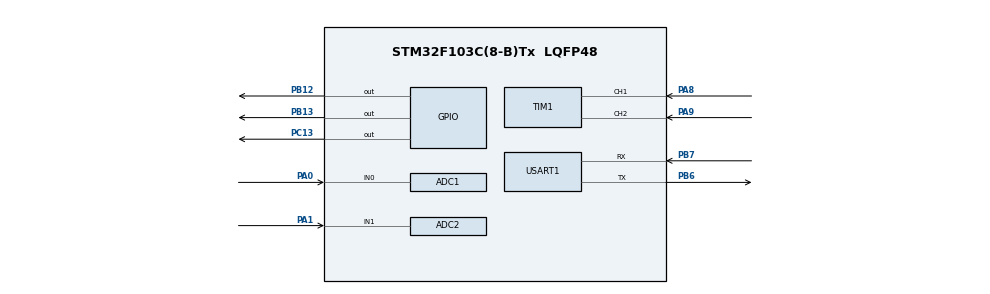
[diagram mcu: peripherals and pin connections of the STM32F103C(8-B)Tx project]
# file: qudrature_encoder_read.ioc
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ADC1.Channel-7\#ChannelRegularConversion=ADC_CHANNEL_0
ADC1.ContinuousConvMode=DISABLE
ADC1.DataAlign=ADC_DATAALIGN_RIGHT
ADC1.EnableRegularConversion=ENABLE
ADC1.NbrOfConversionFlag=1
ADC1.Rank-7\#ChannelRegularConversion=1
ADC1.SamplingTime-7\#ChannelRegularConversion=ADC_SAMPLETIME_1CYCLE_5
ADC1.master=1
ADC2.Channel-2\#ChannelRegularConversion=ADC_CHANNEL_1
ADC2.ContinuousConvMode=DISABLE
ADC2.EnableRegularConversion=ENABLE
ADC2.NbrOfConversionFlag=1
ADC2.Rank-2\#ChannelRegularConversion=1
ADC2.SamplingTime-2\#ChannelRegularConversion=ADC_SAMPLETIME_1CYCLE_5
Mcu.Family=STM32F1
Mcu.Name=STM32F103C(8-B)Tx
Mcu.Package=LQFP48
Mcu.UserConstants=USER_WDT_val,2048;ECODER_PULS_PER_REV,200;ENCODER_FILTER,4
NVIC.PriorityGroup=NVIC_PRIORITYGROUP_4
NVIC.TIM1_UP_IRQn=true\:0\:0\:false\:false\:true\:true
NVIC.TIM2_IRQn=true\:0\:0\:false\:false\:true\:true
NVIC.USART1_IRQn=true\:0\:0\:false\:false\:true\:true
PA0-WKUP.Signal=ADCx_IN0
PA1.Signal=ADCx_IN1
PA13.Mode=Serial_Wire
PA13.Signal=SYS_JTMS-SWDIO
PA14.Mode=Serial_Wire
PA14.Signal=SYS_JTCK-SWCLK
PA8.Signal=S_TIM1_CH1
PA9.Signal=S_TIM1_CH2
PB12.Signal=GPIO_Output
PB13.Signal=GPIO_Output
PB6.Mode=Asynchronous
PB6.Signal=USART1_TX
PB7.Mode=Asynchronous
PB7.Signal=USART1_RX
PC13-TAMPER-RTC.Signal=GPIO_Output
PC14-OSC32_IN.Mode=LSE-External-Oscillator
PC14-OSC32_IN.Signal=RCC_OSC32_IN
PC15-OSC32_OUT.Mode=LSE-External-Oscillator
PC15-OSC32_OUT.Signal=RCC_OSC32_OUT
PD0-OSC_IN.Mode=HSE-External-Oscillator
PD0-OSC_IN.Signal=RCC_OSC_IN
PD1-OSC_OUT.Mode=HSE-External-Oscillator
PD1-OSC_OUT.Signal=RCC_OSC_OUT
ProjectManager.HeapSize=0x200
ProjectManager.StackSize=0x400
ProjectManager.TargetToolchain=TrueSTUDIO
RCC.APB1Freq_Value=8000000
RCC.APB2Freq_Value=8000000
RCC.PLLSourceVirtual=RCC_PLLSOURCE_HSE
RCC.RTCClockSelection=RCC_RTCCLKSOURCE_LSE
RCC.SYSCLKSource=RCC_SYSCLKSOURCE_HSE
RCC.USBFreq_Value=16000000
SH.ADCx_IN0.0=ADC1_IN0,IN0
SH.ADCx_IN1.0=ADC2_IN1,IN1
SH.S_TIM1_CH1.0=TIM1_CH1,Encoder_Interface
SH.S_TIM1_CH2.0=TIM1_CH2,Encoder_Interface
TIM1.IC1Filter=ENCODER_FILTER
TIM1.IC2Filter=ENCODER_FILTER
TIM1.Period=ECODER_PULS_PER_REV
TIM2.AutoReloadPreload=TIM_AUTORELOAD_PRELOAD_ENABLE
TIM2.CounterMode=TIM_COUNTERMODE_DOWN
TIM2.Period=999
TIM2.Prescaler=799
USART1.VirtualMode=VM_ASYNC
VP_TIM2_VS_ClockSourceINT.Mode=Internal
board=custom

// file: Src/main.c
/* USER CODE BEGIN Header */
/**
  ******************************************************************************
  * @file           : main.c
  * @brief          : Main program body
  ******************************************************************************
  ** This notice applies to any and all portions of this file
  * that are not between comment pairs USER CODE BEGIN and
  * USER CODE END. Other portions of this file, whether
  * inserted by the user or by software development tools
  * are owned by their respective copyright owners.
  *
  * COPYRIGHT(c) 2019 STMicroelectronics
  *
  * Redistribution and use in source and binary forms, with or without modification,
  * are permitted provided that the following conditions are met:
  *   1. Redistributions of source code must retain the above copyright notice,
  *      this list of conditions and the following disclaimer.
  *   2. Redistributions in binary form must reproduce the above copyright notice,
  *      this list of conditions and the following disclaimer in the documentation
  *      and/or other materials provided with the distribution.
  *   3. Neither the name of STMicroelectronics nor the names of its contributors
  *      may be used to endorse or promote products derived from this software
  *      without specific prior written permission.
  *
  * THIS SOFTWARE IS PROVIDED BY THE COPYRIGHT HOLDERS AND CONTRIBUTORS "AS IS"
  * AND ANY EXPRESS OR IMPLIED WARRANTIES, INCLUDING, BUT NOT LIMITED TO, THE
  * IMPLIED WARRANTIES OF MERCHANTABILITY AND FITNESS FOR A PARTICULAR PURPOSE ARE
  * DISCLAIMED. IN NO EVENT SHALL THE COPYRIGHT HOLDER OR CONTRIBUTORS BE LIABLE
  * FOR ANY DIRECT, INDIRECT, INCIDENTAL, SPECIAL, EXEMPLARY, OR CONSEQUENTIAL
  * DAMAGES (INCLUDING, BUT NOT LIMITED TO, PROCUREMENT OF SUBSTITUTE GOODS OR
  * SERVICES; LOSS OF USE, DATA, OR PROFITS; OR BUSINESS INTERRUPTION) HOWEVER
  * CAUSED AND ON ANY THEORY OF LIABILITY, WHETHER IN CONTRACT, STRICT LIABILITY,
  * OR TORT (INCLUDING NEGLIGENCE OR OTHERWISE) ARISING IN ANY WAY OUT OF THE USE
  * OF THIS SOFTWARE, EVEN IF ADVISED OF THE POSSIBILITY OF SUCH DAMAGE.
  *
  ******************************************************************************
  */
/* USER CODE END Header */

#include "main.h"
#include "adc.h"
#include "tim.h"
#include "usart.h"
#include "gpio.h"

/* USER CODE BEGIN Includes */
#include "stm32f1xx_it.h"
#include "utilities.h"
#include "scheduler_2.h"
#include "sw_timer.h"

#include <string.h>
/* USER CODE END Includes */

/* USER CODE BEGIN PV */

//static uint32_t encoder_cnt = 0;

static HAL_StatusTypeDef hUart1_status;

typedef struct _encoder_t
{
    uint32_t    dir;           // encoder direction information
    uint32_t    puls_encoder;  // encoder puls count in one revolution -> REDUNDANT ?
    int64_t     rev_cnt;       // total revolutions of encoder
    int64_t     puls_cnt;      // total puls count
    int64_t     puls_old_cnt;  // total puls count used for speed calculation
    int32_t     speed;         // calculated speed pulses per time unit
    int32_t     speed_old;     // for use in calculation of acceleration
    int32_t     accel;         // calculated acceleration
}encoder_t;

encoder_t hEncoder = {0};

/* user tasks */
void TASK_ecoder_data_debugOut(void);
/**
 * @brief program main state machine
 */
void TASK_stateMachine(void);
/**
 * @brief main state machine function pointer
 */
void (*pAtive_state)(void);

void SM_init(void);

void SM_idle(void);
void SM_waitDeceleration(void);
void SM_break(void);

void SM_transition_2_idle(void);
void SM_transition_2_waitDeceleration(void);
void SM_transition_2_break(void);

uint32_t Filter_digital_state(uint32_t const *const input);

/* USER CODE END PV */

void SystemClock_Config(void);

/* USER CODE BEGIN 0 */

uint32_t Filter_digital_state(uint32_t const *const input) {
    #define FILTER_LEVEL   (4)

    static uint32_t filter = 0;
    uint32_t return_value = 0;

    filter << 1;
    filter |= (*input & 0x0001);

    if( (filter & (FILTER_LEVEL - 1)) == (FILTER_LEVEL - 1) ) {
        return_value = 1;
    }else if( filter & (FILTER_LEVEL - 1) == 0 ){
        return_value = 0;
    }
    return return_value;
}

void HAL_TIM_PeriodElapsedCallback(TIM_HandleTypeDef *htim) {
    #define CALC_PRSC_val       (5)
    static uint32_t calc_prsc = CALC_PRSC_val;
    //static uint32_t dir_filtered = 0;

    hEncoder.dir = (htim1.Instance->CR1 >> TIM_CR1_DIR_Pos) & 0x0001;

    /* HW timer2 calculation timer  */
    if(htim->Instance == htim2.Instance){
        //HAL_GPIO_TogglePin(GPIOB, GPIO_PIN_12);
        //dir_filtered = Filter_digital_state(&hEncoder.dir);

        hEncoder.puls_encoder = htim1.Instance->CNT;
        /* read count value of encoder timer: */
        hEncoder.puls_cnt   = hEncoder.puls_encoder + hEncoder.rev_cnt * ECODER_PULS_PER_REV;

        /*calculation Prescaler */
        calc_prsc--;
        if(calc_prsc == 0) {
            calc_prsc = CALC_PRSC_val;
            /* calculate speed */
            hEncoder.speed = hEncoder.puls_cnt - hEncoder.puls_old_cnt;
            hEncoder.puls_old_cnt = hEncoder.puls_cnt;

            /* calculate acceleration */
            //hEncoder.accel      = hEncoder.speed - hEncoder.speed_old;
            if(hEncoder.dir == 0) {
            //if(dir_filtered == 0) {
                hEncoder.accel = hEncoder.speed - hEncoder.speed_old;
            }else {
                hEncoder.accel = hEncoder.speed_old - hEncoder.speed;
            }
            hEncoder.speed_old  = hEncoder.speed;
        }
    }

    /* HW timer1 (ENCODER) update (overflow) */
    if(htim->Instance == htim1.Instance){
        /* #debug */
        //HAL_GPIO_TogglePin(GPIOB, GPIO_PIN_12);

        if(hEncoder.dir == ROT_OF_INTEREST) {
            /* clockwise direction */
            hEncoder.rev_cnt++;
        }else if(hEncoder.dir == COUNTER_ROT) {
            /* counter clockwise direction */
            hEncoder.rev_cnt--;
        }
    }
}

void HAL_UART_TxCpltCallback(UART_HandleTypeDef *huart) {
    /* this callback function could run ring buffer to handle multiple messages */
}

/* USER CODE END 0 */

int main(void)
{

  /* MCU Configuration--------------------------------------------------------*/

  /* Reset of all peripherals, Initializes the Flash interface and the Systick. */
  HAL_Init();

  /* Configure the system clock */
  SystemClock_Config();

  /* Initialize all configured peripherals */
  MX_GPIO_Init();
  MX_USART1_UART_Init();
  MX_TIM2_Init();
  MX_TIM1_Init();
  MX_ADC1_Init();
  MX_ADC2_Init();
  /* USER CODE BEGIN 2 */

    USER_TIM1_Init();
    USER_TIM2_Init();

    SM_init();
    Scheduler.add_task(&TASK_ecoder_data_debugOut, 200);
    Scheduler.add_task(&TASK_stateMachine, 200);

  /* USER CODE END 2 */

  /* Infinite loop */
  /* USER CODE BEGIN WHILE */
    while (1) //#b
    {

    /* USER CODE END WHILE */

    /* USER CODE BEGIN 3 */
        Scheduler.task_exe();
    }
  /* USER CODE END 3 */
}

void SystemClock_Config(void)
{
  RCC_OscInitTypeDef RCC_OscInitStruct = {0};
  RCC_ClkInitTypeDef RCC_ClkInitStruct = {0};
  RCC_PeriphCLKInitTypeDef PeriphClkInit = {0};

  /**Initializes the CPU, AHB and APB busses clocks
  */
  RCC_OscInitStruct.OscillatorType = RCC_OSCILLATORTYPE_HSE;
  RCC_OscInitStruct.HSEState = RCC_HSE_ON;
  RCC_OscInitStruct.PLL.PLLState = RCC_PLL_NONE;
  if (HAL_RCC_OscConfig(&RCC_OscInitStruct) != HAL_OK)
  {
    Error_Handler();
  }
  /**Initializes the CPU, AHB and APB busses clocks
  */
  RCC_ClkInitStruct.ClockType = RCC_CLOCKTYPE_HCLK|RCC_CLOCKTYPE_SYSCLK
                              |RCC_CLOCKTYPE_PCLK1|RCC_CLOCKTYPE_PCLK2;
  RCC_ClkInitStruct.SYSCLKSource = RCC_SYSCLKSOURCE_HSE;
  RCC_ClkInitStruct.AHBCLKDivider = RCC_SYSCLK_DIV1;
  RCC_ClkInitStruct.APB1CLKDivider = RCC_HCLK_DIV1;
  RCC_ClkInitStruct.APB2CLKDivider = RCC_HCLK_DIV1;

  if (HAL_RCC_ClockConfig(&RCC_ClkInitStruct, FLASH_LATENCY_0) != HAL_OK)
  {
    Error_Handler();
  }
  PeriphClkInit.PeriphClockSelection = RCC_PERIPHCLK_ADC;
  PeriphClkInit.AdcClockSelection = RCC_ADCPCLK2_DIV2;
  if (HAL_RCCEx_PeriphCLKConfig(&PeriphClkInit) != HAL_OK)
  {
    Error_Handler();
  }
}

/* USER CODE BEGIN 4 */

void systick_timer_swHandler(void) {
    _sw_timers_tick();
    Scheduler.run();
}

/* user TASKs */

/* state machine global variables: */
sw_timer_t xTmr_break = {0};

void TASK_stateMachine(void) {
    pAtive_state();
}

void SM_init(void){
    swTimer_init(&xTmr_break);
    SM_transition_2_idle();
}

static int64_t revolution_cnt = 0;
void SM_idle(void){
    static int64_t rev_diff = 0;

    rev_diff = hEncoder.rev_cnt - revolution_cnt;

    if( (rev_diff > START_SPIN_CNT_TH ) &&
    (hEncoder.dir == ROT_OF_INTEREST) )
    {
        SM_transition_2_waitDeceleration();
    }else if (hEncoder.dir == COUNTER_ROT){
        revolution_cnt = hEncoder.rev_cnt;
    }

    //------------------------------------------------------------------------
    /* this part is to filter out very slow rotation of a shaft  */
    if( (rev_diff > 1) && (swTimer.getTmrStatus(&xTmr_break) == SWTM_STOP) ) {
        swTimer.set(&xTmr_break, 5000);
    }

    if(swTimer.isElapsed(&xTmr_break) == 1) {
        swTimer.clear(&xTmr_break);
        revolution_cnt = hEncoder.rev_cnt;
    }
    //------------------------------------------------------------------------
}

static uint32_t filter_cnt = 0;
static uint32_t speed_filter = 0;
void SM_waitDeceleration(void){

    if(hEncoder.accel < 0) {
        filter_cnt++;
    }else{
        filter_cnt = 0;
    }

    if(hEncoder.speed == 0) {
        speed_filter++;
    }else{
        speed_filter = 0;
    }

    if( (filter_cnt > DECELERATION_FILTER_TH) || speed_filter > SPEED_FILTER_TH)
    {
        /*activate IO */
        HAL_GPIO_WritePin(GPIOB, GPIO_PIN_12, GPIO_PIN_SET);
        SM_transition_2_break();
    }
}

void SM_break(void){
    /* wait to stop */
    if(hEncoder.speed == 0) {
        /* wait another 2 seconds */
        if(swTimer.getTmrStatus(&xTmr_break) == SWTM_STOP){
            swTimer.set(&xTmr_break, DELAY_AFTER_STOP);
        }
        if(swTimer.isElapsed(&xTmr_break) == 1){
            /*de-activate IO */
            HAL_GPIO_WritePin(GPIOB, GPIO_PIN_12, GPIO_PIN_RESET);
            SM_transition_2_idle();
        }
    }
}

void SM_transition_2_idle(void){
    swTimer.clear(&xTmr_break);
    revolution_cnt = hEncoder.rev_cnt;
    pAtive_state = &SM_idle;
}

void SM_transition_2_waitDeceleration(void){
    swTimer.clear(&xTmr_break);
    pAtive_state = &SM_waitDeceleration;
}

void SM_transition_2_break(void){
    filter_cnt = 0;
    speed_filter = 0;
    pAtive_state = &SM_break;
}

void TASK_ecoder_data_debugOut(void) {
    //systickOld = systickCnt;

    //static int32_t systickOld = 0;
    //static uint8_t hello_msg[] = "hello word\n";

    #define ENCODER_OUT_MSNG_len    (100u)
    static uint8_t encoder_uart_msng_str[ENCODER_OUT_MSNG_len] = {0};
    static uint8_t dir_value_str[] = "0";
    static uint8_t encoder_val_str[10] = {0};
    static uint32_t encoder_uart_msng_str_len;

    /* #debug */
    HAL_GPIO_TogglePin(GPIOC, GPIO_PIN_13);

    // convert direction into string
    if(hEncoder.dir == ROT_OF_INTEREST){
        dir_value_str[0] = '1';
    }else {
        dir_value_str[0] = '0';
    }
    /* convert encoder counts to string  */

    /* construct uart out message */
    strcpy(encoder_uart_msng_str, "============# \n");
    strcat(encoder_uart_msng_str, "dir     : ");
    strcat(encoder_uart_msng_str, dir_value_str);
    strcat(encoder_uart_msng_str, "\n");

    num2str(hEncoder.puls_cnt, encoder_val_str);
    strcat(encoder_uart_msng_str, "step_cnt: ");
    strcat(encoder_uart_msng_str, encoder_val_str);
    strcat(encoder_uart_msng_str, "\n");

    num2str(hEncoder.rev_cnt, encoder_val_str);
    strcat(encoder_uart_msng_str, "rev_cnt : ");
    strcat(encoder_uart_msng_str, encoder_val_str);
    strcat(encoder_uart_msng_str, "\n");

    num2str(hEncoder.speed, encoder_val_str);
    strcat(encoder_uart_msng_str, "speed   : ");
    strcat(encoder_uart_msng_str, encoder_val_str);
    strcat(encoder_uart_msng_str, "\n");

    num2str(hEncoder.accel, encoder_val_str);
    strcat(encoder_uart_msng_str, "accel   : ");
    strcat(encoder_uart_msng_str, encoder_val_str);
    strcat(encoder_uart_msng_str, "\n");

    /* uint16_t #test */
    // num2str(hEncoder.puls_encoder, encoder_val_str);
    // strcat(encoder_uart_msng_str, "puls_encod: ");
    // strcat(encoder_uart_msng_str, encoder_val_str);
    // strcat(encoder_uart_msng_str, "\n");

    encoder_uart_msng_str_len = strlen(encoder_uart_msng_str);
    assert_param(encoder_uart_msng_str_len < ENCODER_OUT_MSNG_len);

    hUart1_status = HAL_UART_Transmit_IT(&huart1, encoder_uart_msng_str, encoder_uart_msng_str_len );
    //hUart1_status = HAL_UART_Transmit_IT(&huart1, hello_msg, (sizeof(hello_msg)-1) );
    if (hUart1_status != HAL_OK)
    {
        /* there is no buffer so this situation is not useful when two concurrent call are made */
        assert_param(0);
    }
}

/* USER CODE END 4 */

void Error_Handler(void)
{
  /* USER CODE BEGIN Error_Handler_Debug */
    /* User can add his own implementation to report the HAL error return state */
    while(1);

  /* USER CODE END Error_Handler_Debug */
}

#ifdef  USE_FULL_ASSERT
/**
  * @brief  Reports the name of the source file and the source line number
  *         where the assert_param error has occurred.
  * @param  file: pointer to the source file name
  * @param  line: assert_param error line source number
  * @retval None
  */
void assert_failed(uint8_t *file, uint32_t line)
{
  /* USER CODE BEGIN 6 */
    /* User can add his own implementation to report the file name and line number,
     tex: printf("Wrong parameters value: file %s on line %d\r\n", file, line) */
    (void)file;
    (void)line;
    while (1)
        ;

  /* USER CODE END 6 */
}
#endif /* USE_FULL_ASSERT */

/************************ (C) COPYRIGHT STMicroelectronics *****END OF FILE****/
